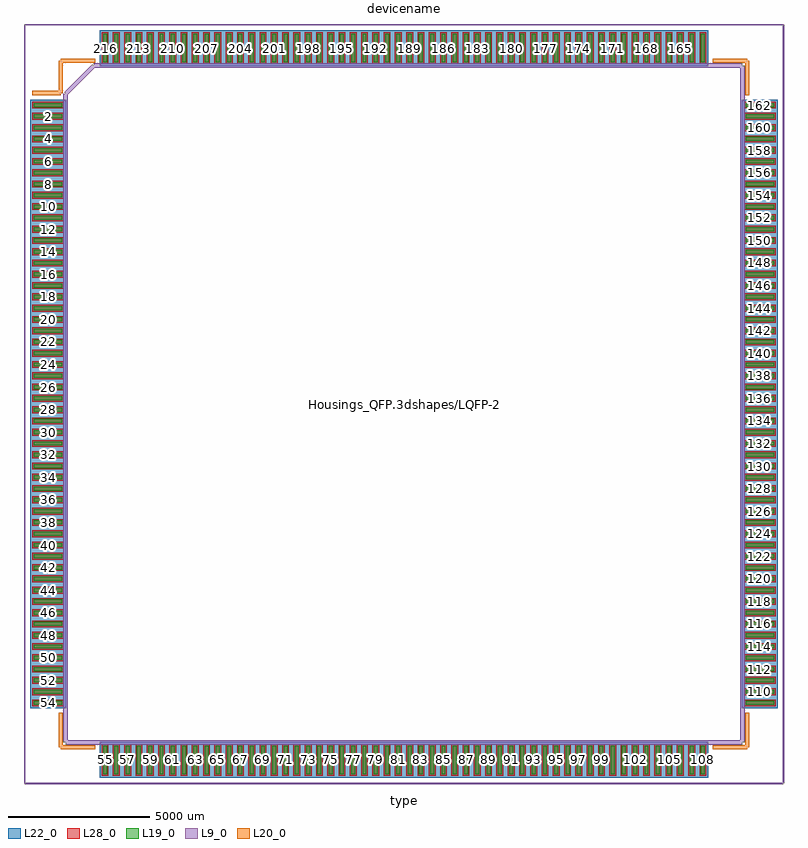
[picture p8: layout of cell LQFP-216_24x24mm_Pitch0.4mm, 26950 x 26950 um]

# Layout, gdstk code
import gdstk
lib = gdstk.Library(unit=1e-6, precision=1e-09)
def R(c, l, rs):  # rectangles x0, y0, x1, y1
    for r in rs: c.add(gdstk.rectangle(r[:2], r[2:], *l))
def A(c, l, x, y, w, h, nx, ny, dx, dy):  # array of equal rectangles
    R(c, l, [(x+i*dx, y+j*dy, x+i*dx+w, y+j*dy+h) for i in range(nx) for j in range(ny)])
L9_0 = (9, 0)
L19_0 = (19, 0)
L20_0 = (20, 0)
L22_0 = (22, 0)
L28_0 = (28, 0)

lqfp_216_24x24mm_pitch0_ = lib.new_cell('LQFP-216_24x24mm_Pitch0.4mm')
A(lqfp_216_24x24mm_pitch0_, L19_0, -10670, -13130, 140, 1020, 54, 2, 400, 25240)
A(lqfp_216_24x24mm_pitch0_, L19_0, -13130, -10670, 1020, 140, 1, 54, 0, 400)
A(lqfp_216_24x24mm_pitch0_, L19_0, 12110, -10670, 1020, 140, 1, 54, 0, 400)
A(lqfp_216_24x24mm_pitch0_, L22_0, -10795, -13255, 390, 1270, 54, 2, 400, 25240)
A(lqfp_216_24x24mm_pitch0_, L22_0, -13255, -10795, 1270, 390, 1, 54, 0, 400)
A(lqfp_216_24x24mm_pitch0_, L22_0, 11985, -10795, 1270, 390, 1, 54, 0, 400)
A(lqfp_216_24x24mm_pitch0_, L28_0, -10720, -13180, 240, 1120, 54, 2, 400, 25240)
A(lqfp_216_24x24mm_pitch0_, L28_0, -13180, -10720, 1120, 240, 1, 54, 0, 400)
A(lqfp_216_24x24mm_pitch0_, L28_0, 12060, -10720, 1120, 240, 1, 54, 0, 400)
lqfp_216_24x24mm_pitch0_.add(gdstk.FlexPath([(-12175,11025),(-13180,11025)], 149.998, ends="flush", simple_path=True, layer=20, datatype=0))  # L20_0
lqfp_216_24x24mm_pitch0_.add(gdstk.FlexPath([(12175,12175),(10945,12175)], 149.998, ends="flush", simple_path=True, layer=20, datatype=0))  # L20_0
lqfp_216_24x24mm_pitch0_.add(gdstk.FlexPath([(12175,-12175),(10945,-12175)], 149.998, ends="flush", simple_path=True, layer=20, datatype=0))  # L20_0
lqfp_216_24x24mm_pitch0_.add(gdstk.FlexPath([(-12175,-12175),(-10945,-12175)], 149.998, ends="flush", simple_path=True, layer=20, datatype=0))  # L20_0
lqfp_216_24x24mm_pitch0_.add(gdstk.FlexPath([(-12175,12175),(-10945,12175)], 149.998, ends="flush", simple_path=True, layer=20, datatype=0))  # L20_0
lqfp_216_24x24mm_pitch0_.add(gdstk.FlexPath([(-12175,-12175),(-12175,-10945)], 149.998, ends="flush", simple_path=True, layer=20, datatype=0))  # L20_0
lqfp_216_24x24mm_pitch0_.add(gdstk.FlexPath([(12175,-12175),(12175,-10945)], 149.998, ends="flush", simple_path=True, layer=20, datatype=0))  # L20_0
lqfp_216_24x24mm_pitch0_.add(gdstk.FlexPath([(12175,12175),(12175,10945)], 149.998, ends="flush", simple_path=True, layer=20, datatype=0))  # L20_0
lqfp_216_24x24mm_pitch0_.add(gdstk.FlexPath([(-12175,12175),(-12175,11025)], 149.998, ends="flush", simple_path=True, layer=20, datatype=0))  # L20_0
lqfp_216_24x24mm_pitch0_.add(gdstk.FlexPath([(-13450,-13450),(13450,-13450)], 50, ends="flush", simple_path=True, layer=9, datatype=0))  # L9_0
lqfp_216_24x24mm_pitch0_.add(gdstk.FlexPath([(-13450,13450),(13450,13450)], 50, ends="flush", simple_path=True, layer=9, datatype=0))  # L9_0
lqfp_216_24x24mm_pitch0_.add(gdstk.FlexPath([(13450,13450),(13450,-13450)], 50, ends="flush", simple_path=True, layer=9, datatype=0))  # L9_0
lqfp_216_24x24mm_pitch0_.add(gdstk.FlexPath([(-13450,13450),(-13450,-13450)], 50, ends="flush", simple_path=True, layer=9, datatype=0))  # L9_0
lqfp_216_24x24mm_pitch0_.add(gdstk.FlexPath([(-12000,11000),(-11000,12000)], 149.998, ends="flush", simple_path=True, layer=9, datatype=0))  # L9_0
lqfp_216_24x24mm_pitch0_.add(gdstk.FlexPath([(-12000,-12000),(-12000,11000)], 149.998, ends="flush", simple_path=True, layer=9, datatype=0))  # L9_0
lqfp_216_24x24mm_pitch0_.add(gdstk.FlexPath([(12000,-12000),(-12000,-12000)], 149.998, ends="flush", simple_path=True, layer=9, datatype=0))  # L9_0
lqfp_216_24x24mm_pitch0_.add(gdstk.FlexPath([(12000,12000),(12000,-12000)], 149.998, ends="flush", simple_path=True, layer=9, datatype=0))  # L9_0
lqfp_216_24x24mm_pitch0_.add(gdstk.FlexPath([(-11000,12000),(12000,12000)], 149.998, ends="flush", simple_path=True, layer=9, datatype=0))  # L9_0
lqfp_216_24x24mm_pitch0_.add(gdstk.Label('Housings_QFP.3dshapes/LQFP-216_24x24mm_Pitch0.4mm.wrl', (0,0), layer=12, texttype=0))
lqfp_216_24x24mm_pitch0_.add(gdstk.Label('216', (-10600,12620), layer=28, texttype=0))
lqfp_216_24x24mm_pitch0_.add(gdstk.Label('215', (-10200,12620), layer=28, texttype=0))
lqfp_216_24x24mm_pitch0_.add(gdstk.Label('214', (-9800,12620), layer=28, texttype=0))
lqfp_216_24x24mm_pitch0_.add(gdstk.Label('213', (-9400,12620), layer=28, texttype=0))
lqfp_216_24x24mm_pitch0_.add(gdstk.Label('212', (-9000,12620), layer=28, texttype=0))
lqfp_216_24x24mm_pitch0_.add(gdstk.Label('211', (-8600,12620), layer=28, texttype=0))
lqfp_216_24x24mm_pitch0_.add(gdstk.Label('210', (-8200,12620), layer=28, texttype=0))
lqfp_216_24x24mm_pitch0_.add(gdstk.Label('209', (-7800,12620), layer=28, texttype=0))
lqfp_216_24x24mm_pitch0_.add(gdstk.Label('208', (-7400,12620), layer=28, texttype=0))
lqfp_216_24x24mm_pitch0_.add(gdstk.Label('207', (-7000,12620), layer=28, texttype=0))
lqfp_216_24x24mm_pitch0_.add(gdstk.Label('206', (-6600,12620), layer=28, texttype=0))
lqfp_216_24x24mm_pitch0_.add(gdstk.Label('205', (-6200,12620), layer=28, texttype=0))
lqfp_216_24x24mm_pitch0_.add(gdstk.Label('204', (-5800,12620), layer=28, texttype=0))
lqfp_216_24x24mm_pitch0_.add(gdstk.Label('203', (-5400,12620), layer=28, texttype=0))
lqfp_216_24x24mm_pitch0_.add(gdstk.Label('202', (-5000,12620), layer=28, texttype=0))
lqfp_216_24x24mm_pitch0_.add(gdstk.Label('201', (-4600,12620), layer=28, texttype=0))
lqfp_216_24x24mm_pitch0_.add(gdstk.Label('200', (-4200,12620), layer=28, texttype=0))
lqfp_216_24x24mm_pitch0_.add(gdstk.Label('199', (-3800,12620), layer=28, texttype=0))
lqfp_216_24x24mm_pitch0_.add(gdstk.Label('198', (-3400,12620), layer=28, texttype=0))
lqfp_216_24x24mm_pitch0_.add(gdstk.Label('197', (-3000,12620), layer=28, texttype=0))
lqfp_216_24x24mm_pitch0_.add(gdstk.Label('196', (-2600,12620), layer=28, texttype=0))
lqfp_216_24x24mm_pitch0_.add(gdstk.Label('195', (-2200,12620), layer=28, texttype=0))
lqfp_216_24x24mm_pitch0_.add(gdstk.Label('194', (-1800,12620), layer=28, texttype=0))
lqfp_216_24x24mm_pitch0_.add(gdstk.Label('193', (-1400,12620), layer=28, texttype=0))
lqfp_216_24x24mm_pitch0_.add(gdstk.Label('192', (-1000,12620), layer=28, texttype=0))
lqfp_216_24x24mm_pitch0_.add(gdstk.Label('191', (-600,12620), layer=28, texttype=0))
lqfp_216_24x24mm_pitch0_.add(gdstk.Label('190', (-200,12620), layer=28, texttype=0))
lqfp_216_24x24mm_pitch0_.add(gdstk.Label('189', (200,12620), layer=28, texttype=0))
lqfp_216_24x24mm_pitch0_.add(gdstk.Label('188', (600,12620), layer=28, texttype=0))
lqfp_216_24x24mm_pitch0_.add(gdstk.Label('187', (1000,12620), layer=28, texttype=0))
lqfp_216_24x24mm_pitch0_.add(gdstk.Label('186', (1400,12620), layer=28, texttype=0))
lqfp_216_24x24mm_pitch0_.add(gdstk.Label('185', (1800,12620), layer=28, texttype=0))
lqfp_216_24x24mm_pitch0_.add(gdstk.Label('184', (2200,12620), layer=28, texttype=0))
lqfp_216_24x24mm_pitch0_.add(gdstk.Label('183', (2600,12620), layer=28, texttype=0))
lqfp_216_24x24mm_pitch0_.add(gdstk.Label('182', (3000,12620), layer=28, texttype=0))
lqfp_216_24x24mm_pitch0_.add(gdstk.Label('181', (3400,12620), layer=28, texttype=0))
lqfp_216_24x24mm_pitch0_.add(gdstk.Label('180', (3800,12620), layer=28, texttype=0))
lqfp_216_24x24mm_pitch0_.add(gdstk.Label('179', (4200,12620), layer=28, texttype=0))
lqfp_216_24x24mm_pitch0_.add(gdstk.Label('178', (4600,12620), layer=28, texttype=0))
lqfp_216_24x24mm_pitch0_.add(gdstk.Label('177', (5000,12620), layer=28, texttype=0))
lqfp_216_24x24mm_pitch0_.add(gdstk.Label('176', (5400,12620), layer=28, texttype=0))
lqfp_216_24x24mm_pitch0_.add(gdstk.Label('175', (5800,12620), layer=28, texttype=0))
lqfp_216_24x24mm_pitch0_.add(gdstk.Label('174', (6200,12620), layer=28, texttype=0))
lqfp_216_24x24mm_pitch0_.add(gdstk.Label('173', (6600,12620), layer=28, texttype=0))
lqfp_216_24x24mm_pitch0_.add(gdstk.Label('172', (7000,12620), layer=28, texttype=0))
lqfp_216_24x24mm_pitch0_.add(gdstk.Label('171', (7400,12620), layer=28, texttype=0))
lqfp_216_24x24mm_pitch0_.add(gdstk.Label('170', (7800,12620), layer=28, texttype=0))
lqfp_216_24x24mm_pitch0_.add(gdstk.Label('169', (8200,12620), layer=28, texttype=0))
lqfp_216_24x24mm_pitch0_.add(gdstk.Label('168', (8600,12620), layer=28, texttype=0))
lqfp_216_24x24mm_pitch0_.add(gdstk.Label('167', (9000,12620), layer=28, texttype=0))
lqfp_216_24x24mm_pitch0_.add(gdstk.Label('166', (9400,12620), layer=28, texttype=0))
lqfp_216_24x24mm_pitch0_.add(gdstk.Label('165', (9800,12620), layer=28, texttype=0))
lqfp_216_24x24mm_pitch0_.add(gdstk.Label('164', (10200,12620), layer=28, texttype=0))
lqfp_216_24x24mm_pitch0_.add(gdstk.Label('163', (10600,12620), layer=28, texttype=0))
lqfp_216_24x24mm_pitch0_.add(gdstk.Label('162', (12620,10600), layer=28, texttype=0))
lqfp_216_24x24mm_pitch0_.add(gdstk.Label('161', (12620,10200), layer=28, texttype=0))
lqfp_216_24x24mm_pitch0_.add(gdstk.Label('160', (12620,9800), layer=28, texttype=0))
lqfp_216_24x24mm_pitch0_.add(gdstk.Label('159', (12620,9400), layer=28, texttype=0))
lqfp_216_24x24mm_pitch0_.add(gdstk.Label('158', (12620,9000), layer=28, texttype=0))
lqfp_216_24x24mm_pitch0_.add(gdstk.Label('157', (12620,8600), layer=28, texttype=0))
lqfp_216_24x24mm_pitch0_.add(gdstk.Label('156', (12620,8200), layer=28, texttype=0))
lqfp_216_24x24mm_pitch0_.add(gdstk.Label('155', (12620,7800), layer=28, texttype=0))
lqfp_216_24x24mm_pitch0_.add(gdstk.Label('154', (12620,7400), layer=28, texttype=0))
lqfp_216_24x24mm_pitch0_.add(gdstk.Label('153', (12620,7000), layer=28, texttype=0))
lqfp_216_24x24mm_pitch0_.add(gdstk.Label('152', (12620,6600), layer=28, texttype=0))
lqfp_216_24x24mm_pitch0_.add(gdstk.Label('151', (12620,6200), layer=28, texttype=0))
lqfp_216_24x24mm_pitch0_.add(gdstk.Label('150', (12620,5800), layer=28, texttype=0))
lqfp_216_24x24mm_pitch0_.add(gdstk.Label('149', (12620,5400), layer=28, texttype=0))
lqfp_216_24x24mm_pitch0_.add(gdstk.Label('148', (12620,5000), layer=28, texttype=0))
lqfp_216_24x24mm_pitch0_.add(gdstk.Label('147', (12620,4600), layer=28, texttype=0))
lqfp_216_24x24mm_pitch0_.add(gdstk.Label('146', (12620,4200), layer=28, texttype=0))
lqfp_216_24x24mm_pitch0_.add(gdstk.Label('145', (12620,3800), layer=28, texttype=0))
lqfp_216_24x24mm_pitch0_.add(gdstk.Label('144', (12620,3400), layer=28, texttype=0))
lqfp_216_24x24mm_pitch0_.add(gdstk.Label('143', (12620,3000), layer=28, texttype=0))
lqfp_216_24x24mm_pitch0_.add(gdstk.Label('142', (12620,2600), layer=28, texttype=0))
lqfp_216_24x24mm_pitch0_.add(gdstk.Label('141', (12620,2200), layer=28, texttype=0))
lqfp_216_24x24mm_pitch0_.add(gdstk.Label('140', (12620,1800), layer=28, texttype=0))
lqfp_216_24x24mm_pitch0_.add(gdstk.Label('139', (12620,1400), layer=28, texttype=0))
lqfp_216_24x24mm_pitch0_.add(gdstk.Label('138', (12620,1000), layer=28, texttype=0))
lqfp_216_24x24mm_pitch0_.add(gdstk.Label('137', (12620,600), layer=28, texttype=0))
lqfp_216_24x24mm_pitch0_.add(gdstk.Label('136', (12620,200), layer=28, texttype=0))
lqfp_216_24x24mm_pitch0_.add(gdstk.Label('135', (12620,-200), layer=28, texttype=0))
lqfp_216_24x24mm_pitch0_.add(gdstk.Label('134', (12620,-600), layer=28, texttype=0))
lqfp_216_24x24mm_pitch0_.add(gdstk.Label('133', (12620,-1000), layer=28, texttype=0))
lqfp_216_24x24mm_pitch0_.add(gdstk.Label('132', (12620,-1400), layer=28, texttype=0))
lqfp_216_24x24mm_pitch0_.add(gdstk.Label('131', (12620,-1800), layer=28, texttype=0))
lqfp_216_24x24mm_pitch0_.add(gdstk.Label('130', (12620,-2200), layer=28, texttype=0))
lqfp_216_24x24mm_pitch0_.add(gdstk.Label('129', (12620,-2600), layer=28, texttype=0))
lqfp_216_24x24mm_pitch0_.add(gdstk.Label('128', (12620,-3000), layer=28, texttype=0))
lqfp_216_24x24mm_pitch0_.add(gdstk.Label('127', (12620,-3400), layer=28, texttype=0))
lqfp_216_24x24mm_pitch0_.add(gdstk.Label('126', (12620,-3800), layer=28, texttype=0))
lqfp_216_24x24mm_pitch0_.add(gdstk.Label('125', (12620,-4200), layer=28, texttype=0))
lqfp_216_24x24mm_pitch0_.add(gdstk.Label('124', (12620,-4600), layer=28, texttype=0))
lqfp_216_24x24mm_pitch0_.add(gdstk.Label('123', (12620,-5000), layer=28, texttype=0))
lqfp_216_24x24mm_pitch0_.add(gdstk.Label('122', (12620,-5400), layer=28, texttype=0))
lqfp_216_24x24mm_pitch0_.add(gdstk.Label('121', (12620,-5800), layer=28, texttype=0))
lqfp_216_24x24mm_pitch0_.add(gdstk.Label('120', (12620,-6200), layer=28, texttype=0))
lqfp_216_24x24mm_pitch0_.add(gdstk.Label('119', (12620,-6600), layer=28, texttype=0))
lqfp_216_24x24mm_pitch0_.add(gdstk.Label('118', (12620,-7000), layer=28, texttype=0))
lqfp_216_24x24mm_pitch0_.add(gdstk.Label('117', (12620,-7400), layer=28, texttype=0))
lqfp_216_24x24mm_pitch0_.add(gdstk.Label('116', (12620,-7800), layer=28, texttype=0))
lqfp_216_24x24mm_pitch0_.add(gdstk.Label('115', (12620,-8200), layer=28, texttype=0))
lqfp_216_24x24mm_pitch0_.add(gdstk.Label('114', (12620,-8600), layer=28, texttype=0))
lqfp_216_24x24mm_pitch0_.add(gdstk.Label('113', (12620,-9000), layer=28, texttype=0))
lqfp_216_24x24mm_pitch0_.add(gdstk.Label('112', (12620,-9400), layer=28, texttype=0))
lqfp_216_24x24mm_pitch0_.add(gdstk.Label('111', (12620,-9800), layer=28, texttype=0))
lqfp_216_24x24mm_pitch0_.add(gdstk.Label('110', (12620,-10200), layer=28, texttype=0))
lqfp_216_24x24mm_pitch0_.add(gdstk.Label('109', (12620,-10600), layer=28, texttype=0))
lqfp_216_24x24mm_pitch0_.add(gdstk.Label('108', (10600,-12620), layer=28, texttype=0))
lqfp_216_24x24mm_pitch0_.add(gdstk.Label('107', (10200,-12620), layer=28, texttype=0))
lqfp_216_24x24mm_pitch0_.add(gdstk.Label('106', (9800,-12620), layer=28, texttype=0))
lqfp_216_24x24mm_pitch0_.add(gdstk.Label('105', (9400,-12620), layer=28, texttype=0))
lqfp_216_24x24mm_pitch0_.add(gdstk.Label('104', (9000,-12620), layer=28, texttype=0))
lqfp_216_24x24mm_pitch0_.add(gdstk.Label('103', (8600,-12620), layer=28, texttype=0))
lqfp_216_24x24mm_pitch0_.add(gdstk.Label('102', (8200,-12620), layer=28, texttype=0))
lqfp_216_24x24mm_pitch0_.add(gdstk.Label('101', (7800,-12620), layer=28, texttype=0))
lqfp_216_24x24mm_pitch0_.add(gdstk.Label('100', (7400,-12620), layer=28, texttype=0))
lqfp_216_24x24mm_pitch0_.add(gdstk.Label('99', (7000,-12620), layer=28, texttype=0))
lqfp_216_24x24mm_pitch0_.add(gdstk.Label('98', (6600,-12620), layer=28, texttype=0))
lqfp_216_24x24mm_pitch0_.add(gdstk.Label('97', (6200,-12620), layer=28, texttype=0))
lqfp_216_24x24mm_pitch0_.add(gdstk.Label('96', (5800,-12620), layer=28, texttype=0))
lqfp_216_24x24mm_pitch0_.add(gdstk.Label('95', (5400,-12620), layer=28, texttype=0))
lqfp_216_24x24mm_pitch0_.add(gdstk.Label('94', (5000,-12620), layer=28, texttype=0))
lqfp_216_24x24mm_pitch0_.add(gdstk.Label('93', (4600,-12620), layer=28, texttype=0))
lqfp_216_24x24mm_pitch0_.add(gdstk.Label('92', (4200,-12620), layer=28, texttype=0))
lqfp_216_24x24mm_pitch0_.add(gdstk.Label('91', (3800,-12620), layer=28, texttype=0))
lqfp_216_24x24mm_pitch0_.add(gdstk.Label('90', (3400,-12620), layer=28, texttype=0))
lqfp_216_24x24mm_pitch0_.add(gdstk.Label('89', (3000,-12620), layer=28, texttype=0))
lqfp_216_24x24mm_pitch0_.add(gdstk.Label('88', (2600,-12620), layer=28, texttype=0))
lqfp_216_24x24mm_pitch0_.add(gdstk.Label('87', (2200,-12620), layer=28, texttype=0))
lqfp_216_24x24mm_pitch0_.add(gdstk.Label('86', (1800,-12620), layer=28, texttype=0))
lqfp_216_24x24mm_pitch0_.add(gdstk.Label('85', (1400,-12620), layer=28, texttype=0))
lqfp_216_24x24mm_pitch0_.add(gdstk.Label('84', (1000,-12620), layer=28, texttype=0))
lqfp_216_24x24mm_pitch0_.add(gdstk.Label('83', (600,-12620), layer=28, texttype=0))
lqfp_216_24x24mm_pitch0_.add(gdstk.Label('82', (200,-12620), layer=28, texttype=0))
lqfp_216_24x24mm_pitch0_.add(gdstk.Label('81', (-200,-12620), layer=28, texttype=0))
lqfp_216_24x24mm_pitch0_.add(gdstk.Label('80', (-600,-12620), layer=28, texttype=0))
lqfp_216_24x24mm_pitch0_.add(gdstk.Label('79', (-1000,-12620), layer=28, texttype=0))
lqfp_216_24x24mm_pitch0_.add(gdstk.Label('78', (-1400,-12620), layer=28, texttype=0))
lqfp_216_24x24mm_pitch0_.add(gdstk.Label('77', (-1800,-12620), layer=28, texttype=0))
lqfp_216_24x24mm_pitch0_.add(gdstk.Label('76', (-2200,-12620), layer=28, texttype=0))
lqfp_216_24x24mm_pitch0_.add(gdstk.Label('75', (-2600,-12620), layer=28, texttype=0))
lqfp_216_24x24mm_pitch0_.add(gdstk.Label('74', (-3000,-12620), layer=28, texttype=0))
lqfp_216_24x24mm_pitch0_.add(gdstk.Label('73', (-3400,-12620), layer=28, texttype=0))
lqfp_216_24x24mm_pitch0_.add(gdstk.Label('72', (-3800,-12620), layer=28, texttype=0))
lqfp_216_24x24mm_pitch0_.add(gdstk.Label('71', (-4200,-12620), layer=28, texttype=0))
lqfp_216_24x24mm_pitch0_.add(gdstk.Label('70', (-4600,-12620), layer=28, texttype=0))
lqfp_216_24x24mm_pitch0_.add(gdstk.Label('69', (-5000,-12620), layer=28, texttype=0))
lqfp_216_24x24mm_pitch0_.add(gdstk.Label('68', (-5400,-12620), layer=28, texttype=0))
lqfp_216_24x24mm_pitch0_.add(gdstk.Label('67', (-5800,-12620), layer=28, texttype=0))
lqfp_216_24x24mm_pitch0_.add(gdstk.Label('66', (-6200,-12620), layer=28, texttype=0))
lqfp_216_24x24mm_pitch0_.add(gdstk.Label('65', (-6600,-12620), layer=28, texttype=0))
lqfp_216_24x24mm_pitch0_.add(gdstk.Label('64', (-7000,-12620), layer=28, texttype=0))
lqfp_216_24x24mm_pitch0_.add(gdstk.Label('63', (-7400,-12620), layer=28, texttype=0))
lqfp_216_24x24mm_pitch0_.add(gdstk.Label('62', (-7800,-12620), layer=28, texttype=0))
lqfp_216_24x24mm_pitch0_.add(gdstk.Label('61', (-8200,-12620), layer=28, texttype=0))
lqfp_216_24x24mm_pitch0_.add(gdstk.Label('60', (-8600,-12620), layer=28, texttype=0))
lqfp_216_24x24mm_pitch0_.add(gdstk.Label('59', (-9000,-12620), layer=28, texttype=0))
lqfp_216_24x24mm_pitch0_.add(gdstk.Label('58', (-9400,-12620), layer=28, texttype=0))
lqfp_216_24x24mm_pitch0_.add(gdstk.Label('57', (-9800,-12620), layer=28, texttype=0))
lqfp_216_24x24mm_pitch0_.add(gdstk.Label('56', (-10200,-12620), layer=28, texttype=0))
lqfp_216_24x24mm_pitch0_.add(gdstk.Label('55', (-10600,-12620), layer=28, texttype=0))
lqfp_216_24x24mm_pitch0_.add(gdstk.Label('54', (-12620,-10600), layer=28, texttype=0))
lqfp_216_24x24mm_pitch0_.add(gdstk.Label('53', (-12620,-10200), layer=28, texttype=0))
lqfp_216_24x24mm_pitch0_.add(gdstk.Label('52', (-12620,-9800), layer=28, texttype=0))
lqfp_216_24x24mm_pitch0_.add(gdstk.Label('51', (-12620,-9400), layer=28, texttype=0))
lqfp_216_24x24mm_pitch0_.add(gdstk.Label('50', (-12620,-9000), layer=28, texttype=0))
lqfp_216_24x24mm_pitch0_.add(gdstk.Label('49', (-12620,-8600), layer=28, texttype=0))
lqfp_216_24x24mm_pitch0_.add(gdstk.Label('48', (-12620,-8200), layer=28, texttype=0))
lqfp_216_24x24mm_pitch0_.add(gdstk.Label('47', (-12620,-7800), layer=28, texttype=0))
lqfp_216_24x24mm_pitch0_.add(gdstk.Label('46', (-12620,-7400), layer=28, texttype=0))
lqfp_216_24x24mm_pitch0_.add(gdstk.Label('45', (-12620,-7000), layer=28, texttype=0))
lqfp_216_24x24mm_pitch0_.add(gdstk.Label('44', (-12620,-6600), layer=28, texttype=0))
lqfp_216_24x24mm_pitch0_.add(gdstk.Label('43', (-12620,-6200), layer=28, texttype=0))
lqfp_216_24x24mm_pitch0_.add(gdstk.Label('42', (-12620,-5800), layer=28, texttype=0))
lqfp_216_24x24mm_pitch0_.add(gdstk.Label('41', (-12620,-5400), layer=28, texttype=0))
lqfp_216_24x24mm_pitch0_.add(gdstk.Label('40', (-12620,-5000), layer=28, texttype=0))
lqfp_216_24x24mm_pitch0_.add(gdstk.Label('39', (-12620,-4600), layer=28, texttype=0))
lqfp_216_24x24mm_pitch0_.add(gdstk.Label('38', (-12620,-4200), layer=28, texttype=0))
lqfp_216_24x24mm_pitch0_.add(gdstk.Label('37', (-12620,-3800), layer=28, texttype=0))
lqfp_216_24x24mm_pitch0_.add(gdstk.Label('36', (-12620,-3400), layer=28, texttype=0))
lqfp_216_24x24mm_pitch0_.add(gdstk.Label('35', (-12620,-3000), layer=28, texttype=0))
lqfp_216_24x24mm_pitch0_.add(gdstk.Label('34', (-12620,-2600), layer=28, texttype=0))
lqfp_216_24x24mm_pitch0_.add(gdstk.Label('33', (-12620,-2200), layer=28, texttype=0))
lqfp_216_24x24mm_pitch0_.add(gdstk.Label('32', (-12620,-1800), layer=28, texttype=0))
lqfp_216_24x24mm_pitch0_.add(gdstk.Label('31', (-12620,-1400), layer=28, texttype=0))
lqfp_216_24x24mm_pitch0_.add(gdstk.Label('30', (-12620,-1000), layer=28, texttype=0))
lqfp_216_24x24mm_pitch0_.add(gdstk.Label('29', (-12620,-600), layer=28, texttype=0))
lqfp_216_24x24mm_pitch0_.add(gdstk.Label('28', (-12620,-200), layer=28, texttype=0))
lqfp_216_24x24mm_pitch0_.add(gdstk.Label('27', (-12620,200), layer=28, texttype=0))
lqfp_216_24x24mm_pitch0_.add(gdstk.Label('26', (-12620,600), layer=28, texttype=0))
lqfp_216_24x24mm_pitch0_.add(gdstk.Label('25', (-12620,1000), layer=28, texttype=0))
lqfp_216_24x24mm_pitch0_.add(gdstk.Label('24', (-12620,1400), layer=28, texttype=0))
lqfp_216_24x24mm_pitch0_.add(gdstk.Label('23', (-12620,1800), layer=28, texttype=0))
lqfp_216_24x24mm_pitch0_.add(gdstk.Label('22', (-12620,2200), layer=28, texttype=0))
lqfp_216_24x24mm_pitch0_.add(gdstk.Label('21', (-12620,2600), layer=28, texttype=0))
lqfp_216_24x24mm_pitch0_.add(gdstk.Label('20', (-12620,3000), layer=28, texttype=0))
lqfp_216_24x24mm_pitch0_.add(gdstk.Label('19', (-12620,3400), layer=28, texttype=0))
lqfp_216_24x24mm_pitch0_.add(gdstk.Label('18', (-12620,3800), layer=28, texttype=0))
lqfp_216_24x24mm_pitch0_.add(gdstk.Label('17', (-12620,4200), layer=28, texttype=0))
lqfp_216_24x24mm_pitch0_.add(gdstk.Label('16', (-12620,4600), layer=28, texttype=0))
lqfp_216_24x24mm_pitch0_.add(gdstk.Label('15', (-12620,5000), layer=28, texttype=0))
lqfp_216_24x24mm_pitch0_.add(gdstk.Label('14', (-12620,5400), layer=28, texttype=0))
lqfp_216_24x24mm_pitch0_.add(gdstk.Label('13', (-12620,5800), layer=28, texttype=0))
lqfp_216_24x24mm_pitch0_.add(gdstk.Label('12', (-12620,6200), layer=28, texttype=0))
lqfp_216_24x24mm_pitch0_.add(gdstk.Label('11', (-12620,6600), layer=28, texttype=0))
lqfp_216_24x24mm_pitch0_.add(gdstk.Label('10', (-12620,7000), layer=28, texttype=0))
lqfp_216_24x24mm_pitch0_.add(gdstk.Label('9', (-12620,7400), layer=28, texttype=0))
lqfp_216_24x24mm_pitch0_.add(gdstk.Label('8', (-12620,7800), layer=28, texttype=0))
lqfp_216_24x24mm_pitch0_.add(gdstk.Label('7', (-12620,8200), layer=28, texttype=0))
lqfp_216_24x24mm_pitch0_.add(gdstk.Label('6', (-12620,8600), layer=28, texttype=0))
lqfp_216_24x24mm_pitch0_.add(gdstk.Label('5', (-12620,9000), layer=28, texttype=0))
lqfp_216_24x24mm_pitch0_.add(gdstk.Label('4', (-12620,9400), layer=28, texttype=0))
lqfp_216_24x24mm_pitch0_.add(gdstk.Label('3', (-12620,9800), layer=28, texttype=0))
lqfp_216_24x24mm_pitch0_.add(gdstk.Label('2', (-12620,10200), layer=28, texttype=0))
lqfp_216_24x24mm_pitch0_.add(gdstk.Label('1', (-12620,10600), layer=28, texttype=0))
lqfp_216_24x24mm_pitch0_.add(gdstk.Label('%R', (0,0), layer=9, texttype=0))
lqfp_216_24x24mm_pitch0_.add(gdstk.Label('type', (0,-14180), layer=9, texttype=0))
lqfp_216_24x24mm_pitch0_.add(gdstk.Label('devicename', (0,14180), layer=9, texttype=0))

lib.write_gds('LQFP-216_24x24mm_Pitch0.4mm.gds')
